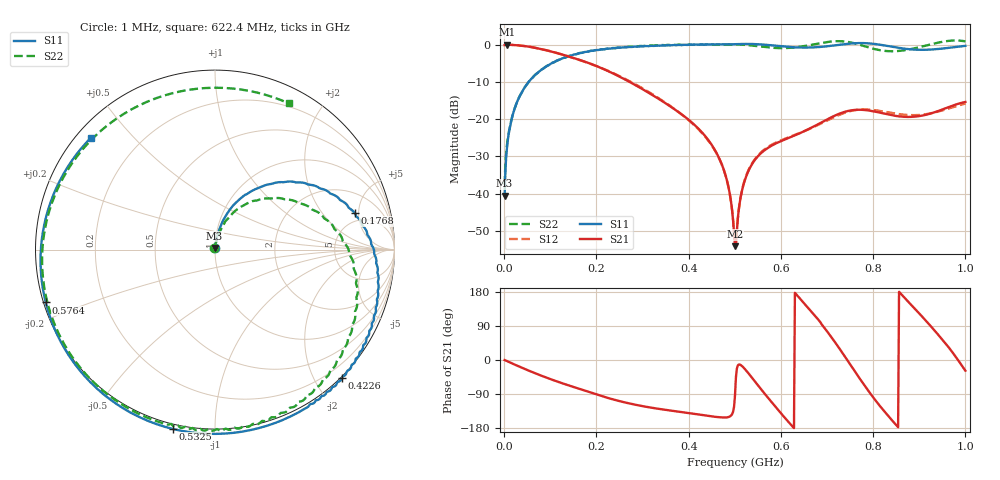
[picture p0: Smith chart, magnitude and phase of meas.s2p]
! Touchstone file generated by LibreVNA.py
# Hz S RI R 50
! Freq ReS11 ImS11 ReS21 ImS21 ReS12 ImS12 ReS22 ImS22
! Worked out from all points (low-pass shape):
!   501 points, 1 MHz to 1 GHz, reference 50 ohm
!   highest |S21| = 0.02 dB at 6.994 MHz (marker M1); lowest = -54.1 dB at 500.5 MHz (marker M2)
!   |S21| within 3 dB of the highest: start of sweep to 135.8 MHz
!   lowest |S11| = -40.6 dB at 1 MHz (marker M3), VSWR 1.02, Z = 49.8 + j0.906 ohm
!   |S11| at or under -10 dB: start of sweep to 53.02 MHz
!   |S22| runs from -37.6 to 1.2 dB; largest |S21 - S12| = 0.31
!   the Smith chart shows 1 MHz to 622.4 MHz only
!   S11 on the Smith chart (normalised r, x): 1 MHz: 1.00, +0.02; 176.8 MHz: 3.89, +4.48; 422.6 MHz: -0.02, -2.40; 532.5 MHz: -0.02, -0.79; 576.4 MHz: 0.01, -0.15; 622.4 MHz: 0.04, +0.38
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1000000  -0.00214 0.0091  0.9925 -0.00295  1.003 -0.00709  -0.00686 0.0112
6994000  0.00577 0.0465  1.001 -0.0581  1.002 -0.058  0.00861 0.0491
5.4946e7  0.1495 0.2913  0.8229 -0.4541  0.8269 -0.4513  0.1947 0.2645
1.68832e8  0.7443 0.2342  0.1215 -0.599  0.1253 -0.5953  0.7729 -0.1054
1.76824e8  0.7777 0.2039  0.0847 -0.5817  0.0895 -0.5779  0.7894 -0.1615
3.34666e8  0.865 -0.4463  -0.1181 -0.1467  -0.1203 -0.1504  0.3779 -0.9089
4.22578e8  0.7074 -0.7144  -0.0592 -0.0432  -0.0575 -0.0431  0.00269 -1.003
4.76524e8  0.5772 -0.8359  -0.0182 -0.00977  -0.0177 -0.0104  -0.194 -0.9913
5.005e8  0.5056 -0.8835  -0.000114 -0.00197  2.9e-05 -0.00197  -0.2832 -0.9699
5.32468e8  -0.2367 -0.9988  0.017 -0.0139  0.0195 -0.0112  -0.9098 -0.3741
5.76424e8  -0.9431 -0.2944  -0.0119 -0.0412  0.00219 -0.044  -0.629 0.6678
6.22378e8  -0.6935 0.6207  -0.0573 -0.00837  -0.0459 -0.0369  0.4096 0.8152
6.68332e8  0.1312 0.9127  -0.0447 0.0641  -0.0752 0.0172  1.004 -0.0511
6.94306e8  0.6102 0.7239  0.00841 0.0948  -0.0659 0.0646  0.7941 -0.726
7.22278e8  0.9602 0.2469  0.0906 0.0718  -0.0153 0.1104  0.0561 -1.117
7.66234e8  0.7417 -0.7469  0.1019 -0.0871  0.1134 0.0711  -0.9747 -0.3058
7.98202e8  -0.015 -1.035  -0.0123 -0.1279  0.1287 -0.0352  -0.715 0.5337
8.34166e8  -0.7407 -0.6046  -0.0995 -0.0583  0.0566 -0.1091  0.0424 0.8192
8.7013e8  -0.8756 0.1146  -0.102 0.0342  -0.0277 -0.1111  0.6928 0.4912
9.14086e8  -0.4246 0.7446  -0.0277 0.1111  -0.1019 -0.0569  0.9009 -0.3739
9.62038e8  0.3872 0.8201  0.1166 0.0847  -0.1257 0.0575  0.0594 -1.125
1e9  0.9138 0.32  0.1503 -0.0808  -0.0436 0.1565  -0.9348 -0.599
